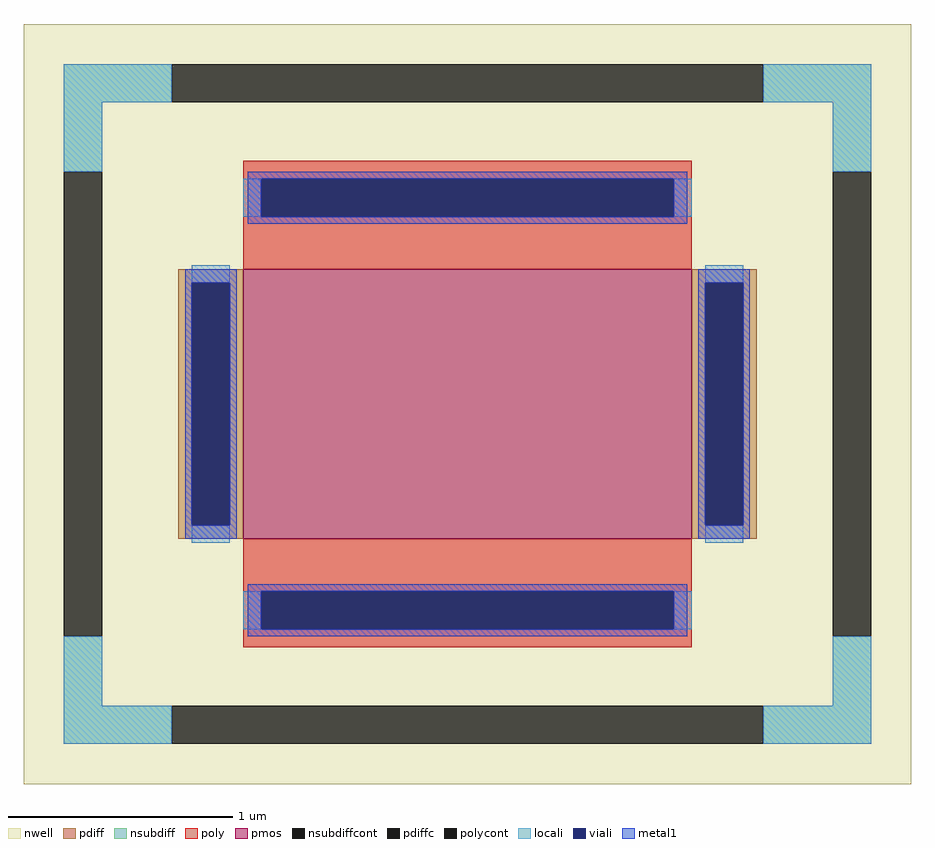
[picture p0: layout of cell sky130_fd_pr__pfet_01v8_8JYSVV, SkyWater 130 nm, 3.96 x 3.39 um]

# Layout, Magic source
magic
tech sky130A
magscale 1 2
<< nwell >>
rect -396 -339 396 339
<< pmos >>
rect -200 -120 200 120
<< pdiff >>
rect -258 108 -200 120
rect -258 -108 -246 108
rect -212 -108 -200 108
rect -258 -120 -200 -108
rect 200 108 258 120
rect 200 -108 212 108
rect 246 -108 258 108
rect 200 -120 258 -108
<< pdiffc >>
rect -246 -108 -212 108
rect 212 -108 246 108
<< nsubdiff >>
rect -360 269 -264 303
rect 264 269 360 303
rect -360 207 -326 269
rect 326 207 360 269
rect -360 -269 -326 -207
rect 326 -269 360 -207
rect -360 -303 -264 -269
rect 264 -303 360 -269
<< nsubdiffcont >>
rect -264 269 264 303
rect -360 -207 -326 207
rect 326 -207 360 207
rect -264 -303 264 -269
<< poly >>
rect -200 201 200 217
rect -200 167 -184 201
rect 184 167 200 201
rect -200 120 200 167
rect -200 -167 200 -120
rect -200 -201 -184 -167
rect 184 -201 200 -167
rect -200 -217 200 -201
<< polycont >>
rect -184 167 184 201
rect -184 -201 184 -167
<< locali >>
rect -360 269 -264 303
rect 264 269 360 303
rect -360 207 -326 269
rect 326 207 360 269
rect -200 167 -184 201
rect 184 167 200 201
rect -246 108 -212 124
rect -246 -124 -212 -108
rect 212 108 246 124
rect 212 -124 246 -108
rect -200 -201 -184 -167
rect 184 -201 200 -167
rect -360 -269 -326 -207
rect 326 -269 360 -207
rect -360 -303 -264 -269
rect 264 -303 360 -269
<< viali >>
rect -184 167 184 201
rect -246 -108 -212 108
rect 212 -108 246 108
rect -184 -201 184 -167
<< metal1 >>
rect -196 201 196 207
rect -196 167 -184 201
rect 184 167 196 201
rect -196 161 196 167
rect -252 108 -206 120
rect -252 -108 -246 108
rect -212 -108 -206 108
rect -252 -120 -206 -108
rect 206 108 252 120
rect 206 -108 212 108
rect 246 -108 252 108
rect 206 -120 252 -108
rect -196 -167 196 -161
rect -196 -201 -184 -167
rect 184 -201 196 -167
rect -196 -207 196 -201
<< properties >>
string FIXED_BBOX -343 -286 343 286
string gencell sky130_fd_pr__pfet_01v8
string library sky130
string parameters w 1.2 l 2.0 m 1 nf 1 diffcov 100 polycov 100 guard 1 glc 1 grc 1 gtc 1 gbc 1 tbcov 100 rlcov 100 topc 1 botc 1 poverlap 0 doverlap 1 lmin 0.15 wmin 0.42 compatible {sky130_fd_pr__pfet_01v8  sky130_fd_pr__pfet_01v8_lvt sky130_fd_pr__pfet_01v8_hvt  sky130_fd_pr__pfet_g5v0d10v5} full_metal 1 viasrc 100 viadrn 100 viagate 100 viagb 0 viagr 0 viagl 0 viagt 0
<< end >>
